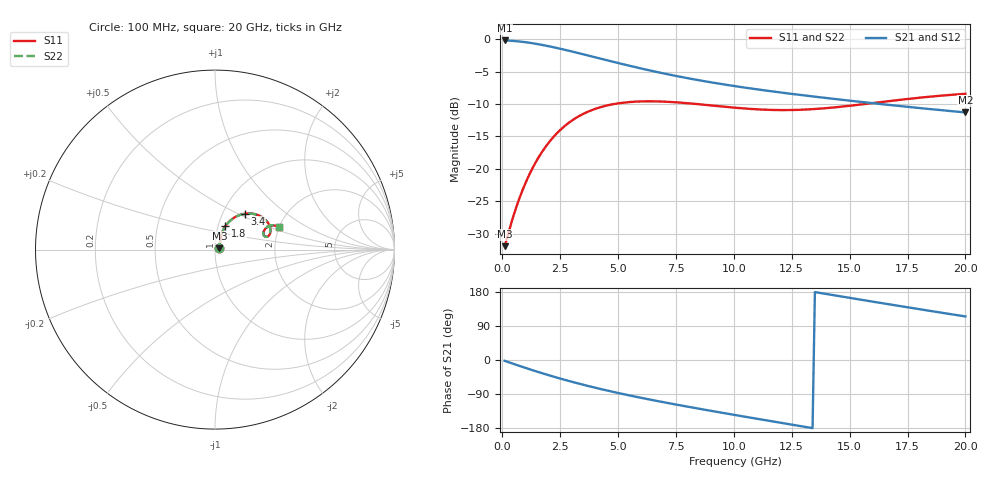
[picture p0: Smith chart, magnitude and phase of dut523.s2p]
! Touchstone file exported from HFSS 2024.1.0
!  File:  C:/UserFiles/LocalFiles/RDL_TSV_Batchsim/temp_RDL_TSV_523_1779742628.aedt
!  Generated:  05:12:36 AM May 26, 2026
!  Design:  RDL_TSV
!  Project:  temp_RDL_TSV_523_1779742628
!  Setup:  Setup1
!  Solution:  Sweep
! Variables:
!  dtsv = 9.83um
!  hbump = 3um
!  htsv = 60.62um
!  ldown = 516.79um
!  lrdl = 561.18um
!  p = 40
!  p1 = 57.16um
!  rhole = 10um
!  subl = 3795.09um
!  t = 450um
!  tdown = 2.44um
!  trdl = 4.97um
!  viad = 10um
!  wdown = 12.81um
!  wrdl = 24.36um
!  xbump = 18um
# GHz S MA R 50.000000
! Terminal data exported
! Port[1] = TM1_1_T1
! Port[2] = TM1_4_T1
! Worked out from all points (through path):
!   200 points, 100 MHz to 20 GHz, reference 50 ohm
!   highest |S21| = -0.22 dB at 100 MHz (marker M1); lowest = -11.3 dB at 20 GHz (marker M2)
!   group delay of S21, straight-line fit = 32 ps
!   lowest |S11| = -31.9 dB at 100 MHz (marker M3), VSWR 1.05, Z = 52.5 + j0.795 ohm
!   |S11| at or under -10 dB: start of sweep to 4.84 GHz; 8.378 GHz to 15.67 GHz (7.296 GHz wide, 60.7 % of centre)
!   |S22| runs from -31.9 to -8.4 dB; largest |S21 - S12| = 6.5e-14
!   S11 on the Smith chart (normalised r, x): 100 MHz: 1.05, +0.02; 1.8 GHz: 1.08, +0.29; 3.4 GHz: 1.27, +0.54; 20 GHz: 2.00, +0.59
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0.1  0.02541 17.3  0.9755 -2.2  0.9755 -2.2  0.02541 17.3
! Gamma 0 0 0 0
! Port Impedance 50 0 50 0
0.5  0.04448 52.0  0.9666 -10.6  0.9666 -10.6  0.04449 51.9
0.9  0.07042 63.6  0.9508 -18.8  0.9508 -18.8  0.07042 63.5
1.3  0.1008 67.1  0.9291 -26.8  0.9291 -26.8  0.1008 67.0
1.8  0.1422 66.1  0.8958 -36.4  0.8958 -36.4  0.1421 66.0
2.2  0.1754 63.1  0.866 -43.7  0.866 -43.7  0.1752 63.0
2.6  0.2069 59.2  0.8348 -50.7  0.8348 -50.7  0.2066 59.1
3.4  0.26 50.3  0.7711 -63.8  0.7711 -63.8  0.2595 50.2
3.5  0.2655 49.2  0.7633 -65.4  0.7633 -65.4  0.265 49.1
4.2  0.2973 41.7  0.7099 -75.9  0.7099 -75.9  0.2967 41.6
5.1  0.3215 33.2  0.6474 -88.4  0.6474 -88.4  0.3207 33.1
5.9  0.3306 27.0  0.5987 -98.6  0.5987 -98.6  0.3296 26.9
6.8  0.3306 21.5  0.5515 -109.5  0.5515 -109.5  0.3295 21.4
7.6  0.3248 17.9  0.5157 -118.7  0.5157 -118.7  0.3236 17.9
8.4  0.316 15.5  0.485 -127.5  0.485 -127.5  0.3146 15.5
10.1  0.2955 14.0  0.4325 -145.7  0.4325 -145.7  0.2941 14.1
11.7  0.2844 16.2  0.3944 -162.3  0.3944 -162.3  0.283 16.3
13.4  0.2885 20.0  0.3616 -179.8  0.3616 -179.8  0.2874 20.3
15.1  0.3076 22.8  0.3339 163.0  0.3339 163.0  0.307 23.1
16.7  0.3327 23.3  0.311 147.0  0.311 147.0  0.3324 23.6
18.3  0.3575 22.0  0.2909 131.3  0.2909 131.3  0.3577 22.3
20  0.3787 19.4  0.2723 114.9  0.2723 114.9  0.3792 19.6
